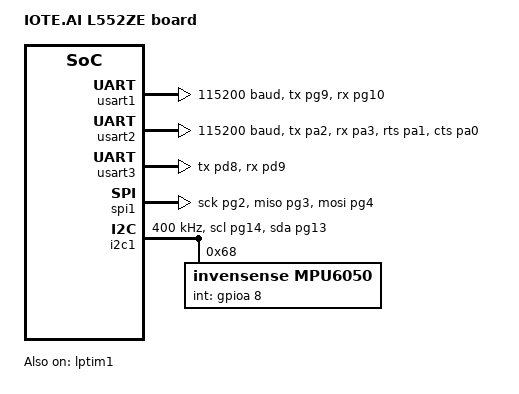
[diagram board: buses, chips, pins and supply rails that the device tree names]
/*
 * Copyright (c) 2021 Petri Oksanen
 *
 * SPDX-License-Identifier: Apache-2.0
 */

 /dts-v1/;
 #include "iote_ai_l552ze-common.dtsi"
 
 / {

     model = "IOTE.AI L552ZE board";
     compatible = "iote_ai,iote-ai-l552ze";
 
     #address-cells = <1>;
     #size-cells = <1>;

/* 
     soc {
		usbotg_fs: otgfs@000d400 {
			compatible = "st,stm32-otgfs";
			reg = <0x000d400 0x40000>;
			interrupts = <67 0>;
			interrupt-names = "otgfs";
			num-bidir-endpoints = <6>;
			ram-size = <1280>;
			maximum-speed = "full-speed";
			phys = <&otgfs_phy>;
			clocks = <&rcc STM32_CLOCK_BUS_AHB2 0x00001000>;
			status = "disabled";
			label= "OTGFS";
		};
*/
/* 
		can {
			can1: can@4000d400 {
				compatible = "st,stm32-fdcan";
				#address-cells = <1>;
				#size-cells = <0>;
				reg = <0x4000d400 0x400>, <0x4000d800 0x400>;
				reg-names = "m_can", "message_ram";
				interrupts = <39 0>, <40 0>;
				interrupt-names = "LINE_0", "LINE_1";
				status = "disabled";
				label = "CAN_1";
			};
		};
*/
/*
	};
*/

/*
	otgfs_phy: otgfs_phy {
		compatible = "usb-nop-xceiv";
		#phy-cells = <0>;
		label = "OTGFS_PHY";
	};
*/

/*
     soc {
        usb: usb@4000d400 {
			compatible = "st,stm32-usb";
			reg = <0x4000d400 0x40000>;
			interrupts = <67 0>;
			interrupt-names = "usb";
			num-bidir-endpoints = <8>;
			ram-size = <1024>;
			maximum-speed = "full-speed";
			phys = <&usb_fs_phy>;
			clocks = <&rcc STM32_CLOCK_BUS_APB1 0x04000000>;
			status = "disabled";
			label = "USB";
		};
    };

     usb_fs_phy: usbphy {
		compatible = "usb-nop-xceiv";
		#phy-cells = <0>;
		label = "USB_FS_PHY";
	};
*/
     chosen {
         zephyr,console = &usart3;
         zephyr,shell-uart = &usart3;
         zephyr,sram = &sram0;
         zephyr,flash = &flash0;
     };
 
     aliases {
        led0 = &green_led_1;
        led1 = &blue_led_1;
        led2 = &red_led_1;
        sw0 = &user_button;
  /*      usb = &usbotg_fs; */
     };
 };
 
 &cpu0 {
	cpu-power-states = <&stop0 &stop1 &stop2>;
};
 
&lptim1 {
	status = "okay";
};

&usart1 {
    hw-flow-control;
    pinctrl-0 = <&usart1_tx_pg9
                 &usart1_rx_pg10>;
/*                 &usart1_rts_pg12
                 &usart1_cts_pg11>; */
    current-speed = <115200>;
    status = "okay";
};

&usart2 {
    hw-flow-control;
    pinctrl-0 = <&usart2_tx_pa2
                 &usart2_rx_pa3
                 &usart2_rts_pa1
                 &usart2_cts_pa0>;
    current-speed = <115200>;
    status = "okay";
};

&usart3 {
/*    hw-flow-control;
    pinctrl-0 = <&usart3_tx_pd8
                 &usart3_rx_pd9
                 &usart3_rts_pd12
                 &usart3_cts_pb13>;
*/
	pinctrl-0 = <&usart3_tx_pd8
				 &usart3_rx_pd9>;
};

/* 
&usbotg_fs {
	status = "disabled";
	pinctrl-0 = <&usb_dm_pa11 &usb_dp_pa12>;
};
*/
/*

&can1 {
	pinctrl-0 = <&can1_rx_pd0 &can1_tx_pd1>;
	bus-speed = <125000>;
	sjw = <1>;
	prop-seg = <0>;
	phase-seg1 = <6>;
	phase-seg2 = <5>;
	status = "disabled";
};
*/


&spi1 {
	pinctrl-0 = <&spi1_sck_pg2 &spi1_miso_pg3 &spi1_mosi_pg4>;
	status = "okay";
	cs-gpios = <&gpiog 5 GPIO_ACTIVE_LOW>;
};

&i2c1 {
	pinctrl-0 = <&i2c1_scl_pg14 &i2c1_sda_pg13>;
	status = "okay";
	clock-frequency = <I2C_BITRATE_FAST>;

	mpu6050@68 {
		compatible = "invensense,mpu6050";
		reg = <0x68>;
		status = "okay";
		label = "MPU6050";
		int-gpios = <&gpioa 8 GPIO_ACTIVE_HIGH>;
/*		irq-gpios = <&gpioa 8 GPIO_ACTIVE_HIGH>; */
	};
};

/*
&rtc {
	status = "okay";
};
*/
